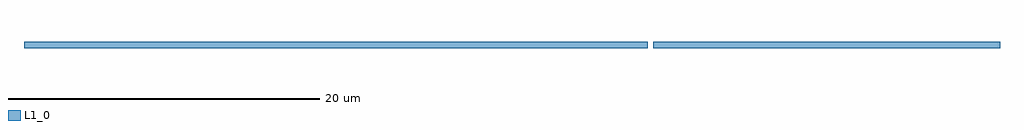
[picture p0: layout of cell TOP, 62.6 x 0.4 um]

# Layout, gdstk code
import gdstk
lib = gdstk.Library(unit=1e-6, precision=1e-09)
def R(c, l, rs):  # rectangles x0, y0, x1, y1
    for r in rs: c.add(gdstk.rectangle(r[:2], r[2:], *l))
def A(c, l, x, y, w, h, nx, ny, dx, dy):  # array of equal rectangles
    R(c, l, [(x+i*dx, y+j*dy, x+i*dx+w, y+j*dy+h) for i in range(nx) for j in range(ny)])
L1_0 = (1, 0)

c_0_7umfixedpitch = lib.new_cell('0.7umfixedpitch')
A(c_0_7umfixedpitch, L1_0, 40.35, 0, 0.35, 0.4, 10, 1, 0.7, 0)
R(c_0_7umfixedpitch, L1_0, [(0,0,40,0.4), (47.35,0,57.35,0.4)])

c_0_8umfixedpitch = lib.new_cell('0.8umfixedpitch')
A(c_0_8umfixedpitch, L1_0, 40.4, 0, 0.4, 0.4, 10, 1, 0.8, 0)
R(c_0_8umfixedpitch, L1_0, [(0,0,40,0.4), (48.4,0,58.4,0.4)])

c_0_9umfixedpitch = lib.new_cell('0.9umfixedpitch')
A(c_0_9umfixedpitch, L1_0, 40.45, 0, 0.45, 0.4, 10, 1, 0.9, 0)
R(c_0_9umfixedpitch, L1_0, [(0,0,40,0.4), (49.45,0,59.45,0.4)])

c_1_0umfixedpitch = lib.new_cell('1.0umfixedpitch')
A(c_1_0umfixedpitch, L1_0, 40.5, 0, 0.5, 0.4, 10, 1, 1, 0)
R(c_1_0umfixedpitch, L1_0, [(0,0,40,0.4), (50.5,0,60.5,0.4)])

c_1_1umfixedpitch = lib.new_cell('1.1umfixedpitch')
A(c_1_1umfixedpitch, L1_0, 40.55, 0, 0.55, 0.4, 10, 1, 1.1, 0)
R(c_1_1umfixedpitch, L1_0, [(0,0,40,0.4), (51.55,0,61.55,0.4)])

c_1_2umfixedpitch = lib.new_cell('1.2umfixedpitch')
A(c_1_2umfixedpitch, L1_0, 40.6, 0, 0.6, 0.4, 10, 1, 1.2, 0)
R(c_1_2umfixedpitch, L1_0, [(0,0,40,0.4), (52.6,0,62.6,0.4)])

c_1_1_20__1_2_80_umfixedpi = lib.new_cell('1.1(20)_1.2(80)umfixedpitch')
A(c_1_1_20__1_2_80_umfixedpi, L1_0, 40.6, 0, 0.6, 0.4, 8, 1, 1.2, 0)
R(c_1_1_20__1_2_80_umfixedpi, L1_0, [(0,0,40,0.4), (50.15,0,50.7,0.4), (51.25,0,51.8,0.4), (52.35,0,62.35,0.4)])

c_1_1_30__1_2_70_umfixedpi = lib.new_cell('1.1(30)_1.2(70)umfixedpitch')
A(c_1_1_30__1_2_70_umfixedpi, L1_0, 40.6, 0, 0.6, 0.4, 7, 1, 1.2, 0)
A(c_1_1_30__1_2_70_umfixedpi, L1_0, 48.95, 0, 0.55, 0.4, 3, 1, 1.1, 0)
R(c_1_1_30__1_2_70_umfixedpi, L1_0, [(0,0,40,0.4), (52.25,0,62.25,0.4)])

c_1_1_40__1_2_60_umfixedpi = lib.new_cell('1.1(40)_1.2(60)umfixedpitch')
A(c_1_1_40__1_2_60_umfixedpi, L1_0, 40.6, 0, 0.6, 0.4, 6, 1, 1.2, 0)
A(c_1_1_40__1_2_60_umfixedpi, L1_0, 47.75, 0, 0.55, 0.4, 4, 1, 1.1, 0)
R(c_1_1_40__1_2_60_umfixedpi, L1_0, [(0,0,40,0.4), (52.15,0,62.15,0.4)])

c_1_1_50__1_2_50_umfixedpi = lib.new_cell('1.1(50)_1.2(50)umfixedpitch')
A(c_1_1_50__1_2_50_umfixedpi, L1_0, 40.6, 0, 0.6, 0.4, 5, 1, 1.2, 0)
A(c_1_1_50__1_2_50_umfixedpi, L1_0, 46.55, 0, 0.55, 0.4, 5, 1, 1.1, 0)
R(c_1_1_50__1_2_50_umfixedpi, L1_0, [(0,0,40,0.4), (52.05,0,62.05,0.4)])

c_1_1_60__1_2_40_umfixedpi = lib.new_cell('1.1(60)_1.2(40)umfixedpitch')
A(c_1_1_60__1_2_40_umfixedpi, L1_0, 40.6, 0, 0.6, 0.4, 4, 1, 1.2, 0)
A(c_1_1_60__1_2_40_umfixedpi, L1_0, 45.35, 0, 0.55, 0.4, 6, 1, 1.1, 0)
R(c_1_1_60__1_2_40_umfixedpi, L1_0, [(0,0,40,0.4), (51.95,0,61.95,0.4)])

c_1_1_70__1_2_30_umfixedpi = lib.new_cell('1.1(70)_1.2(30)umfixedpitch')
A(c_1_1_70__1_2_30_umfixedpi, L1_0, 40.6, 0, 0.6, 0.4, 3, 1, 1.2, 0)
A(c_1_1_70__1_2_30_umfixedpi, L1_0, 44.15, 0, 0.55, 0.4, 7, 1, 1.1, 0)
R(c_1_1_70__1_2_30_umfixedpi, L1_0, [(0,0,40,0.4), (51.85,0,61.85,0.4)])

c_1_1_80__1_2_20_umfixedpi = lib.new_cell('1.1(80)_1.2(20)umfixedpitch')
A(c_1_1_80__1_2_20_umfixedpi, L1_0, 42.95, 0, 0.55, 0.4, 8, 1, 1.1, 0)
R(c_1_1_80__1_2_20_umfixedpi, L1_0, [(0,0,40,0.4), (40.6,0,41.2,0.4), (41.8,0,42.4,0.4), (51.75,0,61.75,0.4)])

top = lib.new_cell('TOP')
top.add(gdstk.Reference(c_0_7umfixedpitch, (-28.675,-0.2)))
top.add(gdstk.Reference(c_0_8umfixedpitch, (-28.675,-0.2)))
top.add(gdstk.Reference(c_0_9umfixedpitch, (-28.675,-0.2)))
top.add(gdstk.Reference(c_1_0umfixedpitch, (-28.675,-0.2)))
top.add(gdstk.Reference(c_1_1umfixedpitch, (-28.675,-0.2)))
top.add(gdstk.Reference(c_1_2umfixedpitch, (-28.675,-0.2)))
top.add(gdstk.Reference(c_1_1_20__1_2_80_umfixedpi, (-28.675,-0.2)))
top.add(gdstk.Reference(c_1_1_30__1_2_70_umfixedpi, (-28.675,-0.2)))
top.add(gdstk.Reference(c_1_1_40__1_2_60_umfixedpi, (-28.675,-0.2)))
top.add(gdstk.Reference(c_1_1_50__1_2_50_umfixedpi, (-28.675,-0.2)))
top.add(gdstk.Reference(c_1_1_60__1_2_40_umfixedpi, (-28.675,-0.2)))
top.add(gdstk.Reference(c_1_1_70__1_2_30_umfixedpi, (-28.675,-0.2)))
top.add(gdstk.Reference(c_1_1_80__1_2_20_umfixedpi, (-28.675,-0.2)))

lib.write_gds('TOP.gds')
